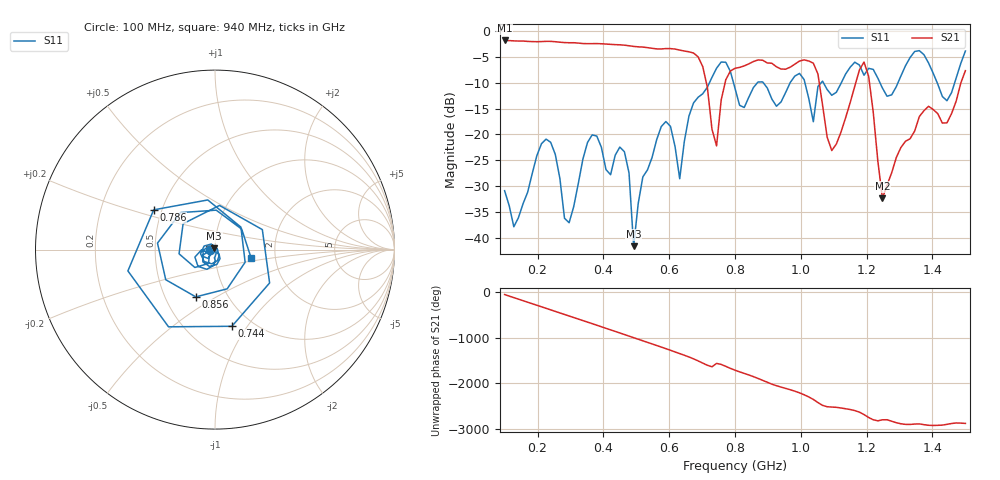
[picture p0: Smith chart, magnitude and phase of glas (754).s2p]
! NanoVNA-App
! Date: 2025-09-25 16:01:21
! Start: 100MHz Stop: 1,5GHz Points: 101
! S-Parameter data: F S11 S21 S12 S22
# Hz S RI R 50
!  Frequency  S11_Real  S11_Imag  S21_Real  S21_Imag  S12_Real  S12_Imag  S22_Real  S22_Imag
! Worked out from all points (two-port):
!   101 points, 100 MHz to 1.5 GHz, reference 50 ohm
!   highest |S21| = -1.80 dB at 100 MHz (marker M1); lowest = -32.4 dB at 1.248 GHz (marker M2)
!   |S21| within 3 dB of the highest: start of sweep to 684.5 MHz
!   lowest |S11| = -41.7 dB at 492 MHz (marker M3), VSWR 1.02, Z = 49.5 + j0.658 ohm
!   |S11| at or under -10 dB: start of sweep to 722.3 MHz; 795.4 MHz to 868.1 MHz (72.67 MHz wide, 8.74 % of centre); 886 MHz to 967.5 MHz (81.5 MHz wide, 8.79 % of centre) (the widest 3 of 7)
!   S12 and S22 are empty: the file has one direction only
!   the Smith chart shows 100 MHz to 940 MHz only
!   S11 on the Smith chart (normalised r, x): 100 MHz: 0.94, -0.01; 744 MHz: 0.81, -0.85; 786 MHz: 0.45, +0.24; 856 MHz: 0.71, -0.41; 940 MHz: 1.50, -0.14
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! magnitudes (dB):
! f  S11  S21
! 100 MHz  -30.9  -1.8
! 128 MHz  -37.9  -1.9
! 226 MHz  -20.9  -2.0
! 296 MHz  -37.1  -2.2
! 338 MHz  -24.8  -2.4
! 464 MHz  -23.4  -2.7
! 492 MHz  -41.7  -3.0
! 576 MHz  -18.5  -3.5
! 632 MHz  -28.6  -3.7
! 702 MHz  -12.1  -6.9
! 744 MHz  -7.2  -22.2
! 786 MHz  -7.8  -7.7
! 800 MHz  -11.1  -7.2
! 856 MHz  -10.9  -5.9
! 940 MHz  -13.7  -7.3
! 996 MHz  -8.2  -5.8
! 1.038 GHz  -17.6  -6.2
! 1.094 GHz  -12.4  -23.1
! 1.192 GHz  -8.5  -6.0
! 1.248 GHz  -11.0  -32.4
! 1.276 GHz  -12.3  -27.5
! 1.5 GHz  -3.9  -7.7
